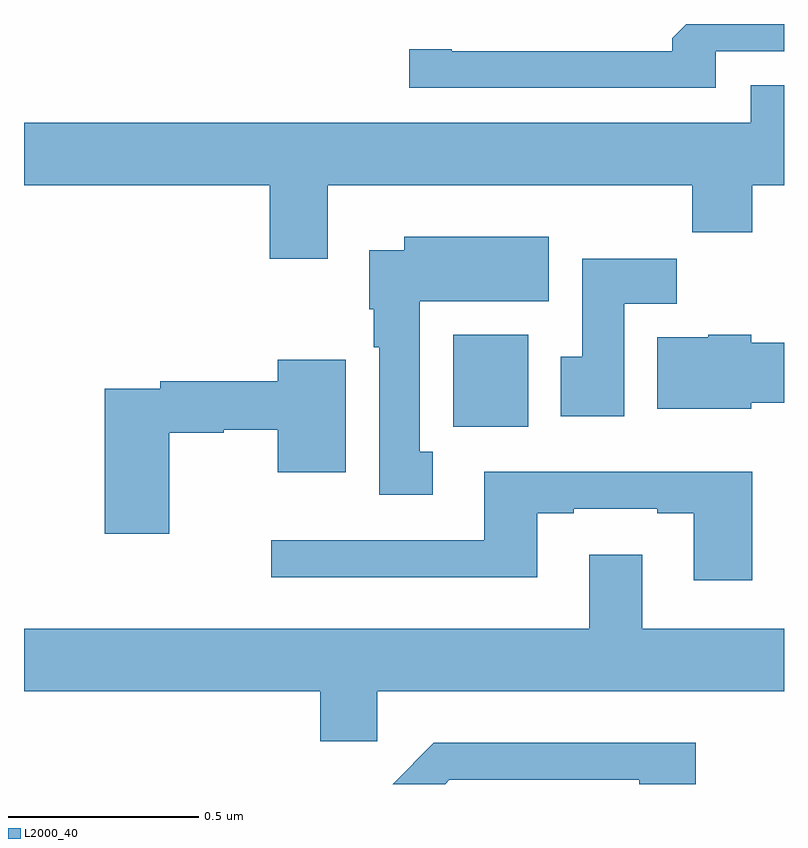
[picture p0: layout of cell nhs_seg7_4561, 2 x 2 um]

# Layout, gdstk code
import gdstk
lib = gdstk.Library(unit=1e-6, precision=1e-09)
def R(c, l, rs):  # rectangles x0, y0, x1, y1
    for r in rs: c.add(gdstk.rectangle(r[:2], r[2:], *l))
def P(c, l, *ps):  # polygons
    for p in ps: c.add(gdstk.Polygon(p, *l))
L2000_40 = (2000, 40)

nhs_seg7_4561 = lib.new_cell('nhs_seg7_4561')
R(nhs_seg7_4561, L2000_40, [(175.13,1039.94,175.327,1040.182)])
P(nhs_seg7_4561, L2000_40, [(175.821,1040.928),(176,1040.928),(176,1041),(175.743,1041),(175.706,1040.962),(175.706,1040.928),(175.126,1040.928),(175.126,1040.933),(175.014,1040.933),(175.014,1040.832),(175.821,1040.832)],
  [(174.799,1040.576),(175.759,1040.576),(175.759,1040.452),(175.916,1040.452),(175.916,1040.576),(176,1040.576),(176,1040.839),(175.913,1040.839),(175.913,1040.74),(174,1040.74),(174,1040.576),(174.647,1040.576),(174.647,1040.382),(174.799,1040.382)],
  [(175.075,1039.874),(175.042,1039.874),(175.042,1040.27),(175.381,1040.27),(175.381,1040.44),(175.001,1040.44),(175.001,1040.404),(174.908,1040.404),(174.908,1040.25),(174.92,1040.25),(174.92,1040.15),(174.935,1040.15),(174.935,1039.761),(175.075,1039.761)],
  [(175.579,1040.264),(175.718,1040.264),(175.718,1040.382),(175.469,1040.382),(175.469,1040.124),(175.412,1040.124),(175.412,1039.968),(175.579,1039.968)],
  [(175.914,1040.003),(176,1040.003),(176,1040.161),(175.914,1040.161),(175.914,1040.182),(175.8,1040.182),(175.8,1040.176),(175.667,1040.176),(175.667,1039.988),(175.914,1039.988)],
  [(174.382,1039.924),(174.525,1039.924),(174.525,1039.932),(174.668,1039.932),(174.668,1039.82),(174.847,1039.82),(174.847,1040.116),(174.668,1040.116),(174.668,1040.06),(174.358,1040.06),(174.358,1040.04),(174.212,1040.04),(174.212,1039.659),(174.382,1039.659)],
  [(175.916,1039.822),(175.211,1039.822),(175.211,1039.641),(174.651,1039.641),(174.651,1039.544),(175.351,1039.544),(175.351,1039.713),(175.447,1039.713),(175.447,1039.725),(175.667,1039.725),(175.667,1039.713),(175.763,1039.713),(175.763,1039.536),(175.916,1039.536)],
  [(174.93,1039.244),(176,1039.244),(176,1039.408),(175.627,1039.408),(175.627,1039.603),(175.487,1039.603),(175.487,1039.408),(174,1039.408),(174,1039.244),(174.779,1039.244),(174.779,1039.113),(174.93,1039.113)],
  [(175.119,1039.011),(175.619,1039.011),(175.619,1039),(175.768,1039),(175.768,1039.108),(175.078,1039.108),(174.97,1039),(175.108,1039)])

lib.write_gds('nhs_seg7_4561.gds')
